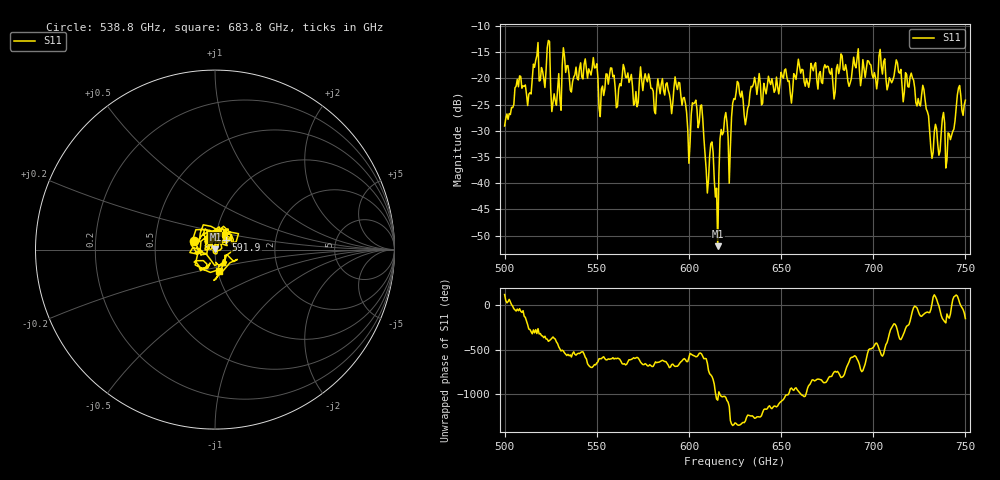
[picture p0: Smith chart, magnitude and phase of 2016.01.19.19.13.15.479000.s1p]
!Created with skrf (http://scikit-rf.org).
# GHz S RI R 50.0
!freq ReS11 ImS11
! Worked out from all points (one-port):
!   401 points, 500 GHz to 750 GHz, reference 50 ohm
!   lowest |S11| = -52.0 dB at 615.6 GHz (marker M1), VSWR 1.01, Z = 50.2 + j0.067 ohm
!   |S11| at or under -10 dB: start of sweep to end of sweep
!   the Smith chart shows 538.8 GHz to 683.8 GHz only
!   S11 on the Smith chart (normalised r, x): 538.8 GHz: 0.78, +0.08; 591.9 GHz: 1.12, +0.12; 683.8 GHz: 1.02, -0.25
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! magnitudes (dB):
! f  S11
! 500 GHz  -29.1
! 507.5 GHz  -21.6
! 513.1 GHz  -23.0
! 516.9 GHz  -16.5
! 523.8 GHz  -12.7
! 526.9 GHz  -22.9
! 531.2 GHz  -17.5
! 538.8 GHz  -17.8
! 562.5 GHz  -21.0
! 591.9 GHz  -21.8
! 593.8 GHz  -22.1
! 600 GHz  -36.2
! 602.5 GHz  -24.8
! 606.9 GHz  -25.0
! 609.4 GHz  -37.4
! 612.5 GHz  -32.1
! 615.6 GHz  -52.0
! 618.1 GHz  -30.8
! 621.9 GHz  -40.0
! 625 GHz  -24.0
! 656.2 GHz  -22.4
! 683.8 GHz  -18.3
! 687.5 GHz  -20.8
! 718.8 GHz  -21.5
! 727.5 GHz  -22.1
! 731.9 GHz  -35.2
! 740.6 GHz  -30.4
! 750 GHz  -24.2
